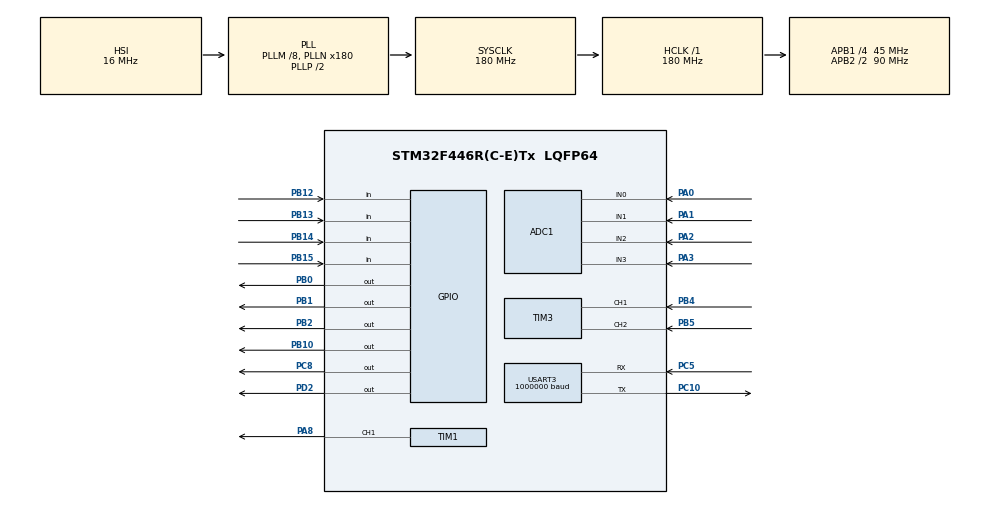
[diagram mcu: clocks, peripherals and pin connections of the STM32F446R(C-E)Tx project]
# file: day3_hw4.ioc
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ADC1.Channel-0\#ChannelRegularConversion=ADC_CHANNEL_0
ADC1.Channel-1\#ChannelRegularConversion=ADC_CHANNEL_1
ADC1.Channel-2\#ChannelRegularConversion=ADC_CHANNEL_2
ADC1.Channel-3\#ChannelRegularConversion=ADC_CHANNEL_3
ADC1.DMAContinuousRequests=ENABLE
ADC1.ExternalTrigConv=ADC_EXTERNALTRIGCONV_T8_TRGO
ADC1.NbrOfConversion=4
ADC1.NbrOfConversionFlag=1
ADC1.Rank-0\#ChannelRegularConversion=1
ADC1.Rank-1\#ChannelRegularConversion=2
ADC1.Rank-2\#ChannelRegularConversion=3
ADC1.Rank-3\#ChannelRegularConversion=4
ADC1.SamplingTime-0\#ChannelRegularConversion=ADC_SAMPLETIME_15CYCLES
ADC1.SamplingTime-1\#ChannelRegularConversion=ADC_SAMPLETIME_15CYCLES
ADC1.SamplingTime-2\#ChannelRegularConversion=ADC_SAMPLETIME_15CYCLES
ADC1.SamplingTime-3\#ChannelRegularConversion=ADC_SAMPLETIME_15CYCLES
ADC1.ScanConvMode=ENABLE
ADC1.master=1
Dma.ADC1.0.Direction=DMA_PERIPH_TO_MEMORY
Dma.ADC1.0.FIFOMode=DMA_FIFOMODE_DISABLE
Dma.ADC1.0.Instance=DMA2_Stream0
Dma.ADC1.0.MemDataAlignment=DMA_MDATAALIGN_WORD
Dma.ADC1.0.MemInc=DMA_MINC_ENABLE
Dma.ADC1.0.Mode=DMA_CIRCULAR
Dma.ADC1.0.PeriphDataAlignment=DMA_PDATAALIGN_WORD
Dma.ADC1.0.PeriphInc=DMA_PINC_DISABLE
Dma.ADC1.0.Priority=DMA_PRIORITY_LOW
Dma.Request0=ADC1
Dma.Request1=USART3_RX
Dma.USART3_RX.1.Direction=DMA_PERIPH_TO_MEMORY
Dma.USART3_RX.1.FIFOMode=DMA_FIFOMODE_DISABLE
Dma.USART3_RX.1.Instance=DMA1_Stream1
Dma.USART3_RX.1.MemDataAlignment=DMA_MDATAALIGN_BYTE
Dma.USART3_RX.1.MemInc=DMA_MINC_ENABLE
Dma.USART3_RX.1.Mode=DMA_CIRCULAR
Dma.USART3_RX.1.PeriphDataAlignment=DMA_PDATAALIGN_BYTE
Dma.USART3_RX.1.PeriphInc=DMA_PINC_DISABLE
Dma.USART3_RX.1.Priority=DMA_PRIORITY_LOW
Mcu.Family=STM32F4
Mcu.Name=STM32F446R(C-E)Tx
Mcu.Package=LQFP64
NVIC.ADC_IRQn=true\:0\:0\:false\:false\:true\:true\:true\:true
NVIC.DMA1_Stream1_IRQn=true\:0\:0\:false\:false\:true\:false\:true\:true
NVIC.DMA2_Stream0_IRQn=true\:0\:0\:false\:false\:true\:false\:true\:true
NVIC.PriorityGroup=NVIC_PRIORITYGROUP_4
NVIC.TIM6_DAC_IRQn=true\:0\:0\:false\:false\:true\:true\:true\:true
NVIC.TIM8_BRK_TIM12_IRQn=true\:0\:0\:false\:false\:true\:true\:true\:true
NVIC.TIM8_CC_IRQn=true\:0\:0\:false\:false\:true\:true\:true\:true
NVIC.TIM8_TRG_COM_TIM14_IRQn=true\:0\:0\:false\:false\:true\:true\:true\:true
NVIC.TIM8_UP_TIM13_IRQn=true\:0\:0\:false\:false\:true\:true\:true\:true
NVIC.USART3_IRQn=true\:0\:0\:false\:false\:true\:true\:true\:true
PA0-WKUP.Signal=ADCx_IN0
PA1.Signal=ADCx_IN1
PA13.Mode=Serial_Wire
PA13.Signal=SYS_JTMS-SWDIO
PA14.Mode=Serial_Wire
PA14.Signal=SYS_JTCK-SWCLK
PA2.Signal=ADCx_IN2
PA3.Signal=ADCx_IN3
PA8.Signal=S_TIM1_CH1
PB0.Signal=GPIO_Output
PB1.Signal=GPIO_Output
PB10.Signal=GPIO_Output
PB12.Signal=GPIO_Input
PB13.Signal=GPIO_Input
PB14.Signal=GPIO_Input
PB15.Signal=GPIO_Input
PB2.Signal=GPIO_Output
PB4.GPIO_PuPd=GPIO_PULLUP
PB4.Signal=S_TIM3_CH1
PB5.GPIO_PuPd=GPIO_PULLUP
PB5.Signal=S_TIM3_CH2
PC10.Mode=Asynchronous
PC10.Signal=USART3_TX
PC5.Mode=Asynchronous
PC5.Signal=USART3_RX
PC8.Signal=GPIO_Output
PD2.Signal=GPIO_Output
PH0-OSC_IN.Mode=HSE-External-Oscillator
PH0-OSC_IN.Signal=RCC_OSC_IN
PH1-OSC_OUT.Mode=HSE-External-Oscillator
PH1-OSC_OUT.Signal=RCC_OSC_OUT
ProjectManager.HeapSize=0x200
ProjectManager.StackSize=0x400
ProjectManager.TargetToolchain=STM32CubeIDE
RCC.AHBFreq_Value=180000000
RCC.APB1CLKDivider=RCC_HCLK_DIV4
RCC.APB1Freq_Value=45000000
RCC.APB1TimFreq_Value=90000000
RCC.APB2CLKDivider=RCC_HCLK_DIV2
RCC.APB2Freq_Value=90000000
RCC.APB2TimFreq_Value=180000000
RCC.CortexFreq_Value=180000000
RCC.HCLKFreq_Value=180000000
RCC.HSE_VALUE=16000000
RCC.PLLM=8
RCC.PLLN=180
RCC.SYSCLKFreq_VALUE=180000000
RCC.SYSCLKSource=RCC_SYSCLKSOURCE_PLLCLK
RCC.USBFreq_Value=180000000
RCC.VCOOutputFreq_Value=360000000
SH.ADCx_IN0.0=ADC1_IN0,IN0
SH.ADCx_IN1.0=ADC1_IN1,IN1
SH.ADCx_IN2.0=ADC1_IN2,IN2
SH.ADCx_IN3.0=ADC1_IN3,IN3
SH.S_TIM1_CH1.0=TIM1_CH1,PWM Generation1 CH1
SH.S_TIM3_CH1.0=TIM3_CH1,Encoder_Interface
SH.S_TIM3_CH2.0=TIM3_CH2,Encoder_Interface
TIM1.Channel-PWM\ Generation1\ CH1=TIM_CHANNEL_1
TIM1.Period=1000-1
TIM1.Prescaler=9-1
TIM3.EncoderMode=TIM_ENCODERMODE_TI12
TIM3.IC1Filter=5
TIM3.IC2Filter=5
TIM6.Period=100-1
TIM6.Prescaler=90-1
TIM8.Period=1000-1
TIM8.Prescaler=18-1
TIM8.TIM_MasterOutputTrigger=TIM_TRGO_UPDATE
USART3.BaudRate=1000000
USART3.VirtualMode=VM_ASYNC
VP_TIM6_VS_ClockSourceINT.Mode=Enable_Timer
VP_TIM8_VS_ClockSourceINT.Mode=Internal
board=custom

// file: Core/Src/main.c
/* USER CODE BEGIN Header */
/**
  ******************************************************************************
  * @file           : main.c
  * @brief          : Main program body
  ******************************************************************************
  * @attention
  *
  * Copyright (c) 2026 STMicroelectronics.
  * All rights reserved.
  *
  * This software is licensed under terms that can be found in the LICENSE file
  * in the root directory of this software component.
  * If no LICENSE file comes with this software, it is provided AS-IS.
  *
  ******************************************************************************
  */
/* USER CODE END Header */
#include "main.h"
#include "adc.h"
#include "dma.h"
#include "tim.h"
#include "usart.h"
#include "gpio.h"

/* USER CODE BEGIN PD */
#define DUTY_LIMIT 70  // 최대 duty (%)
#define ENC_DIR -1  // 정방향 회전 시 카운트가 증가하도록 부호 반전
/* USER CODE END PD */

/* USER CODE BEGIN PV */
volatile int32_t encoder_count = 0;  // 누적 엔코더 값 (overflow 없음)
volatile int32_t encoder_speed = 0;  // 약 20ms 동안 증가한 카운트
volatile uint16_t duty_percent = 0;  // 현재 duty (%), CubeMonitor에서 변경 가능
volatile uint8_t auto_mode = 1;  // 1: duty 자동 변경, 0: 직접 입력
static int16_t prev_cnt = 0;
static int32_t last_count = 0;
static uint8_t speed_cnt = 0;
static const uint16_t duty_steps[4] = {0, 30, 50, 70};  // 자동 모드 duty 순서
/* USER CODE END PV */

void SystemClock_Config(void);
/* USER CODE BEGIN PFP */
static void RunFor(uint32_t ms);
/* USER CODE END PFP */

/* USER CODE BEGIN 0 */
static void RunFor(uint32_t ms)
{
  uint32_t t;
  for (t = 0; t < ms; t++)
  {
    int16_t cnt = (int16_t)__HAL_TIM_GET_COUNTER(&htim3);
    encoder_count += ENC_DIR * (int16_t)(cnt - prev_cnt);  // int16 차이로 누적 -> overflow/underflow 해결
    prev_cnt = cnt;

    if (++speed_cnt >= 10)  // 10회(약 20ms)마다 속도 계산
    {
      speed_cnt = 0;
      encoder_speed = encoder_count - last_count;
      last_count = encoder_count;
    }

    if (duty_percent > DUTY_LIMIT)
    {
      duty_percent = DUTY_LIMIT;
    }
    __HAL_TIM_SET_COMPARE(&htim1, TIM_CHANNEL_1, duty_percent * 10);  // % -> CCR (ARR 1000)
    HAL_Delay(1);  // HAL 이 1틱을 더해 실제 약 2ms
  }
}
/* USER CODE END 0 */

int main(void)
{

  /* MCU Configuration--------------------------------------------------------*/

  /* Reset of all peripherals, Initializes the Flash interface and the Systick. */
  HAL_Init();

  /* Configure the system clock */
  SystemClock_Config();

  /* Initialize all configured peripherals */
  MX_GPIO_Init();
  MX_DMA_Init();
  MX_ADC1_Init();
  MX_TIM8_Init();
  MX_TIM6_Init();
  MX_USART3_UART_Init();
  MX_TIM3_Init();
  MX_TIM1_Init();
  /* USER CODE BEGIN 2 */
  HAL_GPIO_WritePin(GPIOC, GPIO_PIN_8, GPIO_PIN_SET);  // 방향 CW 고정
  HAL_TIM_PWM_Start(&htim1, TIM_CHANNEL_1);
  __HAL_TIM_SET_COMPARE(&htim1, TIM_CHANNEL_1, 0);
  HAL_TIM_Encoder_Start(&htim3, TIM_CHANNEL_ALL);  // TIM3 엔코더 시작
  prev_cnt = (int16_t)__HAL_TIM_GET_COUNTER(&htim3);
  /* USER CODE END 2 */

  /* Infinite loop */
  while (1)
  {

    /* USER CODE BEGIN 3 */
    if (auto_mode)
    {
      uint8_t i;
      for (i = 0; i < 4 && auto_mode; i++)
      {
        duty_percent = duty_steps[i];
        RunFor(2000);  // 2000회 반복, HAL_Delay(1) ≈ 2ms 라 약 4초 유지
      }
    }
    else
    {
      RunFor(10);  // 직접 입력한 duty 적용
    }
  }
  /* USER CODE END 3 */
}

void SystemClock_Config(void)
{
  RCC_OscInitTypeDef RCC_OscInitStruct = {0};
  RCC_ClkInitTypeDef RCC_ClkInitStruct = {0};

  /** Configure the main internal regulator output voltage
  */
  __HAL_RCC_PWR_CLK_ENABLE();
  __HAL_PWR_VOLTAGESCALING_CONFIG(PWR_REGULATOR_VOLTAGE_SCALE1);

  /** Initializes the RCC Oscillators according to the specified parameters
  * in the RCC_OscInitTypeDef structure.
  */
  RCC_OscInitStruct.OscillatorType = RCC_OSCILLATORTYPE_HSI;
  RCC_OscInitStruct.HSIState = RCC_HSI_ON;
  RCC_OscInitStruct.HSICalibrationValue = RCC_HSICALIBRATION_DEFAULT;
  RCC_OscInitStruct.PLL.PLLState = RCC_PLL_ON;
  RCC_OscInitStruct.PLL.PLLSource = RCC_PLLSOURCE_HSI;
  RCC_OscInitStruct.PLL.PLLM = 8;
  RCC_OscInitStruct.PLL.PLLN = 180;
  RCC_OscInitStruct.PLL.PLLP = RCC_PLLP_DIV2;
  RCC_OscInitStruct.PLL.PLLQ = 2;
  RCC_OscInitStruct.PLL.PLLR = 2;
  if (HAL_RCC_OscConfig(&RCC_OscInitStruct) != HAL_OK)
  {
    Error_Handler();
  }

  /** Activate the Over-Drive mode
  */
  if (HAL_PWREx_EnableOverDrive() != HAL_OK)
  {
    Error_Handler();
  }

  /** Initializes the CPU, AHB and APB buses clocks
  */
  RCC_ClkInitStruct.ClockType = RCC_CLOCKTYPE_HCLK|RCC_CLOCKTYPE_SYSCLK
                              |RCC_CLOCKTYPE_PCLK1|RCC_CLOCKTYPE_PCLK2;
  RCC_ClkInitStruct.SYSCLKSource = RCC_SYSCLKSOURCE_PLLCLK;
  RCC_ClkInitStruct.AHBCLKDivider = RCC_SYSCLK_DIV1;
  RCC_ClkInitStruct.APB1CLKDivider = RCC_HCLK_DIV4;
  RCC_ClkInitStruct.APB2CLKDivider = RCC_HCLK_DIV2;

  if (HAL_RCC_ClockConfig(&RCC_ClkInitStruct, FLASH_LATENCY_5) != HAL_OK)
  {
    Error_Handler();
  }
}

void Error_Handler(void)
{
  __disable_irq();
  while (1)
  {
  }
}
